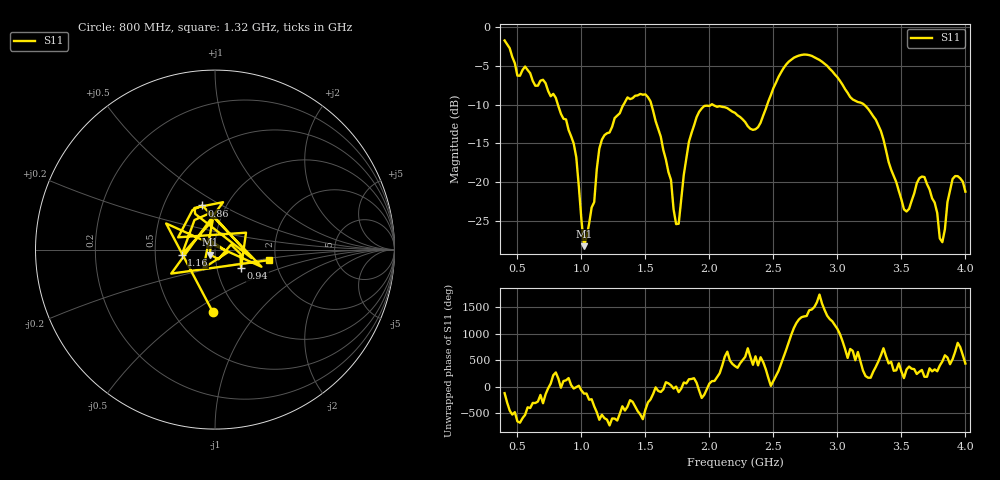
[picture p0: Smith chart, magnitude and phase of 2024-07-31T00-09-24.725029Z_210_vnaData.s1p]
!Created with skrf (http://scikit-rf.org).
# Hz S RI R 50.0
!freq ReS11 ImS11
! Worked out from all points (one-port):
!   181 points, 400 MHz to 4 GHz, reference 50 ohm
!   lowest |S11| = -28.3 dB at 1.02 GHz (marker M1), VSWR 1.08, Z = 47.4 - j2.72 ohm
!   |S11| at or under -10 dB: 816.2 MHz to 1.329 GHz (513.1 MHz wide, 47.8 % of centre); 1.547 GHz to 2.015 GHz (468.4 MHz wide, 26.3 % of centre); 3.208 GHz to end of sweep (the widest 3 of 4)
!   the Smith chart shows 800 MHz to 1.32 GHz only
!   S11 on the Smith chart (normalised r, x): 800 MHz: 0.77, -0.61; 860 MHz: 0.77, +0.41; 940 MHz: 1.31, -0.27; 1.16 GHz: 0.69, -0.04; 1.32 GHz: 1.84, -0.24
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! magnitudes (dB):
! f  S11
! 400 MHz  -1.7
! 500 MHz  -6.3
! 560 MHz  -5.1
! 800 MHz  -9.1
! 860 MHz  -11.8
! 940 MHz  -15.0
! 1.02 GHz  -28.3
! 1.1 GHz  -22.6
! 1.12 GHz  -18.4
! 1.16 GHz  -14.5
! 1.3 GHz  -11.1
! 1.32 GHz  -10.3
! 1.54 GHz  -9.6
! 1.76 GHz  -25.4
! 1.84 GHz  -14.8
! 1.92 GHz  -10.9
! 2.2 GHz  -11.1
! 2.38 GHz  -12.9
! 2.66 GHz  -3.9
! 2.88 GHz  -4.5
! 3.1 GHz  -9.0
! 3.3 GHz  -11.9
! 3.52 GHz  -23.5
! 3.56 GHz  -23.5
! 3.68 GHz  -19.4
! 3.82 GHz  -27.8
! 3.9 GHz  -19.6
! 4 GHz  -21.3
